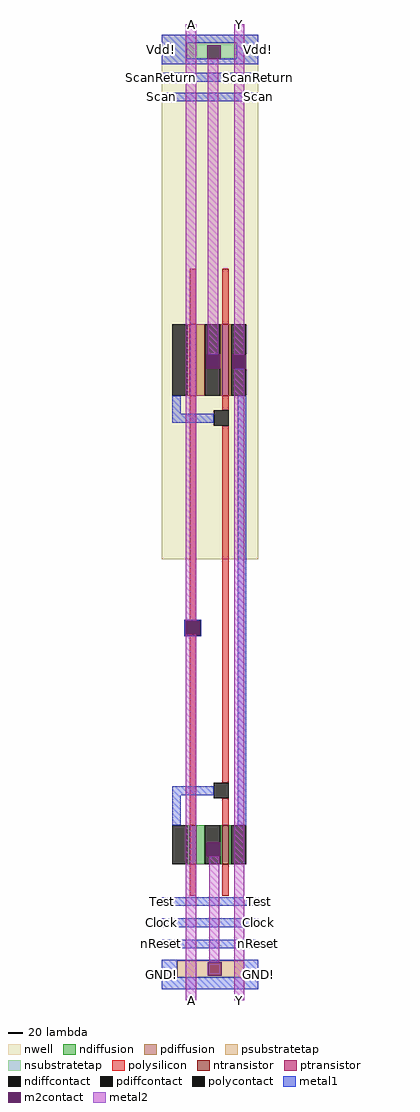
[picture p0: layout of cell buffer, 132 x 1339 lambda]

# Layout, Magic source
magic
tech tsmc180
<< nwell >>
rect 0 605 132 1324
<< polysilicon >>
rect 38 927 47 1003
rect 83 927 92 1003
rect 38 521 47 829
rect 83 809 92 829
rect 38 240 47 500
rect 83 298 92 788
rect 83 240 92 277
rect 38 143 47 186
rect 83 143 92 186
<< ndiffusion >>
rect 35 186 38 240
rect 47 186 59 240
rect 80 186 83 240
rect 92 186 95 240
<< pdiffusion >>
rect 35 829 38 927
rect 47 829 59 927
rect 80 829 83 927
rect 92 829 95 927
<< ntransistor >>
rect 38 186 47 240
rect 83 186 92 240
<< ptransistor >>
rect 38 829 47 927
rect 83 829 92 927
<< polycontact >>
rect 71 788 92 809
rect 32 500 53 521
rect 71 277 92 298
<< ndiffcontact >>
rect 14 186 35 240
rect 59 186 80 240
rect 95 186 116 240
<< pdiffcontact >>
rect 14 829 35 927
rect 59 829 80 927
rect 95 829 116 927
<< psubstratetap >>
rect 21 31 112 54
<< nsubstratetap >>
rect 34 1291 103 1313
<< metal1 >>
rect 0 1313 132 1324
rect 0 1291 34 1313
rect 103 1291 132 1313
rect 0 1284 132 1291
rect 0 1260 132 1272
rect 0 1233 132 1245
rect 14 804 26 829
rect 14 792 71 804
rect 31 521 54 522
rect 31 500 32 521
rect 53 500 54 521
rect 31 499 54 500
rect 14 281 71 293
rect 14 240 26 281
rect 104 240 116 829
rect 0 129 132 141
rect 0 100 132 112
rect 0 71 132 83
rect 0 54 132 55
rect 0 31 21 54
rect 112 31 132 54
rect 0 15 132 31
<< m2contact >>
rect 62 1291 81 1310
rect 61 867 80 886
rect 97 866 116 885
rect 33 501 52 520
rect 61 197 80 216
rect 63 33 82 52
<< metal2 >>
rect 33 520 47 1339
rect 63 886 77 1291
rect 99 885 113 1339
rect 33 0 47 501
rect 65 52 79 197
rect 99 0 113 866
<< labels >>
rlabel metal2 33 1339 47 1339 5 A
rlabel metal2 33 0 47 0 1 A
rlabel metal2 99 1339 113 1339 5 Y
rlabel metal2 99 0 113 0 1 Y
rlabel metal1 132 1233 132 1245 7 Scan
rlabel metal1 132 1260 132 1272 7 ScanReturn
rlabel metal1 132 129 132 141 7 Test
rlabel metal1 132 100 132 112 7 Clock
rlabel metal1 132 71 132 83 7 nReset
rlabel metal1 0 1260 0 1272 3 ScanReturn
rlabel metal1 0 129 0 141 3 Test
rlabel metal1 0 100 0 112 3 Clock
rlabel metal1 0 71 0 83 3 nReset
rlabel metal1 0 1233 0 1245 3 Scan
rlabel metal1 0 1284 0 1324 3 Vdd!
rlabel metal1 132 1284 132 1324 7 Vdd!
rlabel metal1 0 15 0 55 3 GND!
rlabel metal1 132 15 132 55 7 GND!
<< end >>
